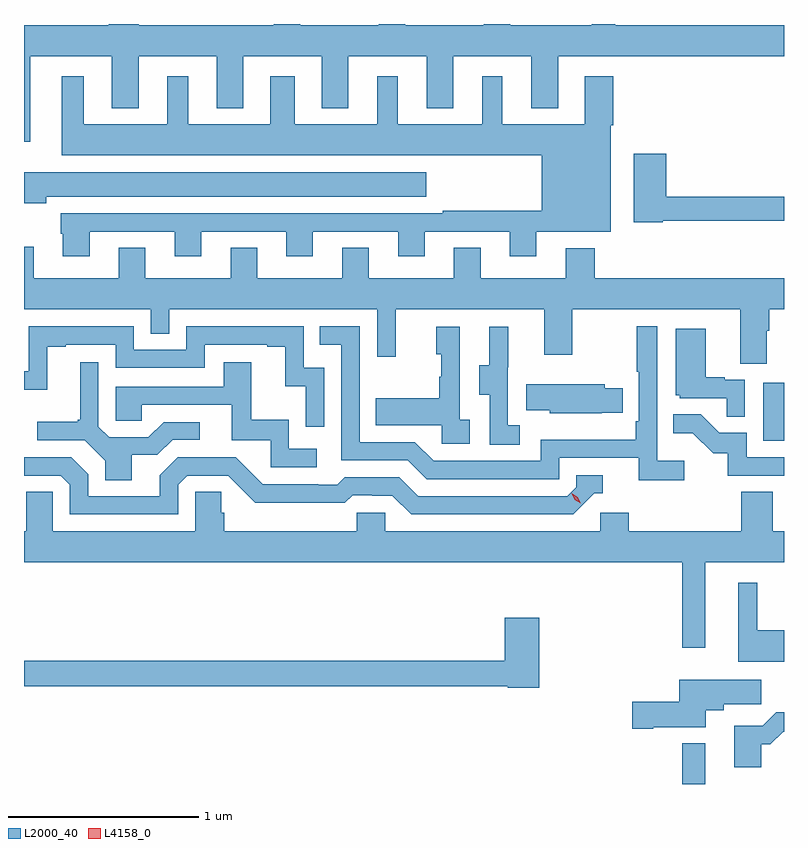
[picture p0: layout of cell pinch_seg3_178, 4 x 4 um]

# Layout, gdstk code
import gdstk
lib = gdstk.Library(unit=1e-6, precision=1e-09)
def R(c, l, rs):  # rectangles x0, y0, x1, y1
    for r in rs: c.add(gdstk.rectangle(r[:2], r[2:], *l))
def P(c, l, *ps):  # polygons
    for p in ps: c.add(gdstk.Polygon(p, *l))
L2000_40 = (2000, 40)
L4158_0 = (4158, 0)

pinch_seg3_178 = lib.new_cell('pinch_seg3_178')
R(pinch_seg3_178, L2000_40, [(997.212,729.054,997.333,729.268), (997.64,730.86,997.748,731.167)])
P(pinch_seg3_178, L2000_40, [(993.781,732.884),(994.211,732.884),(994.211,732.611),(994.351,732.611),(994.351,732.884),(994.763,732.884),(994.763,732.611),(994.903,732.611),(994.903,732.884),(995.315,732.884),(995.315,732.611),(995.455,732.611),(995.455,732.884),(995.867,732.884),(995.867,732.611),(996.007,732.611),(996.007,732.884),(996.419,732.884),(996.419,732.611),(996.559,732.611),(996.559,732.884),(997.748,732.884),(997.748,733.048),(996.859,733.048),(996.859,733.054),(996.737,733.054),(996.737,733.048),(996.307,733.048),(996.307,733.054),(996.167,733.054),(996.167,733.048),(995.755,733.048),(995.755,733.054),(995.615,733.054),(995.615,733.048),(995.203,733.048),(995.203,733.054),(995.063,733.054),(995.063,733.048),(994.353,733.048),(994.353,733.054),(994.193,733.054),(994.193,733.048),(993.748,733.048),(993.748,732.435),(993.781,732.435)],
  [(994.093,731.961),(994.541,731.961),(994.541,731.832),(994.681,731.832),(994.681,731.961),(995.129,731.961),(995.129,731.832),(995.269,731.832),(995.269,731.961),(995.717,731.961),(995.717,731.832),(995.857,731.832),(995.857,731.961),(996.305,731.961),(996.305,731.832),(996.445,731.832),(996.445,731.96),(996.835,731.96),(996.835,732.522),(996.848,732.522),(996.848,732.778),(996.698,732.778),(996.698,732.526),(996.265,732.526),(996.265,732.778),(996.161,732.778),(996.161,732.526),(995.716,732.526),(995.716,732.778),(995.606,732.778),(995.606,732.526),(995.173,732.526),(995.173,732.778),(995.045,732.778),(995.045,732.526),(994.612,732.526),(994.612,732.778),(994.502,732.778),(994.502,732.526),(994.063,732.526),(994.063,732.778),(993.947,732.778),(993.947,732.362),(996.473,732.362),(996.473,732.07),(995.953,732.07),(995.953,732.057),(993.941,732.057),(993.941,731.949),(993.953,731.949),(993.953,731.832),(994.093,731.832)],
  [(997.11,732.018),(997.748,732.018),(997.748,732.146),(997.127,732.146),(997.127,732.37),(996.956,732.37),(996.956,732.01),(997.11,732.01)],
  [(993.865,732.146),(995.866,732.146),(995.866,732.274),(993.748,732.274),(993.748,732.11),(993.865,732.11)],
  [(997.657,731.44),(997.67,731.44),(997.67,731.552),(997.748,731.552),(997.748,731.716),(996.752,731.716),(996.752,731.875),(996.599,731.875),(996.599,731.716),(996.151,731.716),(996.151,731.876),(996.011,731.876),(996.011,731.716),(995.563,731.716),(995.563,731.876),(995.423,731.876),(995.423,731.716),(994.975,731.716),(994.975,731.876),(994.835,731.876),(994.835,731.716),(994.387,731.716),(994.387,731.876),(994.247,731.876),(994.247,731.716),(993.799,731.716),(993.799,731.881),(993.748,731.881),(993.748,731.552),(994.416,731.552),(994.416,731.425),(994.512,731.425),(994.512,731.552),(995.607,731.552),(995.607,731.304),(995.705,731.304),(995.705,731.552),(996.485,731.552),(996.485,731.313),(996.633,731.313),(996.633,731.552),(997.517,731.552),(997.517,731.266),(997.657,731.266)],
  [(997.222,730.756),(997.08,730.756),(997.08,731.464),(996.972,731.464),(996.972,731.224),(996.984,731.224),(996.984,730.963),(996.967,730.963),(996.967,730.867),(996.468,730.867),(996.468,730.755),(995.904,730.755),(995.805,730.854),(995.514,730.854),(995.514,731.463),(995.305,731.463),(995.305,731.367),(995.418,731.367),(995.418,730.758),(995.768,730.758),(995.867,730.659),(996.564,730.659),(996.564,730.77),(996.983,730.77),(996.983,730.654),(997.222,730.654)],
  [(995.328,731.244),(995.22,731.244),(995.22,731.463),(994.602,731.463),(994.602,731.34),(994.326,731.34),(994.326,731.463),(993.774,731.463),(993.774,731.227),(993.748,731.227),(993.748,731.129),(993.871,731.129),(993.871,731.355),(993.967,731.355),(993.967,731.367),(994.23,731.367),(994.23,731.244),(994.698,731.244),(994.698,731.367),(995.027,731.367),(995.027,731.355),(995.123,731.355),(995.123,731.147),(995.232,731.147),(995.232,730.935),(995.328,730.935)],
  [(996.358,730.943),(996.294,730.943),(996.294,731.247),(996.296,731.247),(996.296,731.461),(996.197,731.461),(996.197,731.259),(996.143,731.259),(996.143,731.104),(996.198,731.104),(996.198,730.84),(996.358,730.84)],
  [(996.094,730.97),(996.042,730.97),(996.042,731.461),(995.918,731.461),(995.918,731.316),(995.944,731.316),(995.944,731.198),(995.934,731.198),(995.934,731.083),(995.599,731.083),(995.599,730.943),(995.946,730.943),(995.946,730.845),(996.094,730.845)],
  [(997.542,731.181),(997.436,731.181),(997.436,731.194),(997.336,731.194),(997.336,731.449),(997.178,731.449),(997.178,731.1),(997.2,731.1),(997.2,731.085),(997.447,731.085),(997.447,730.987),(997.542,730.987)],
  [(994.315,730.786),(994.45,730.786),(994.53,730.866),(994.672,730.866),(994.672,730.959),(994.484,730.959),(994.403,730.878),(994.197,730.878),(994.14,730.935),(994.14,731.275),(994.043,731.275),(994.043,730.972),(994.032,730.972),(994.032,730.96),(993.819,730.96),(993.819,730.863),(994.068,730.863),(994.175,730.756),(994.175,730.654),(994.315,730.654)],
  [(995.29,730.818),(995.142,730.818),(995.142,730.972),(994.943,730.972),(994.943,731.275),(994.799,731.275),(994.799,731.145),(994.23,731.145),(994.23,730.965),(994.367,730.965),(994.367,731.049),(994.841,731.049),(994.841,730.863),(995.046,730.863),(995.046,730.722),(995.29,730.722)],
  [(996.788,731.007),(996.899,731.007),(996.899,731.136),(996.805,731.136),(996.805,731.158),(996.391,731.158),(996.391,731.021),(996.516,731.021),(996.516,731.006),(996.788,731.006)],
  [(997.748,730.773),(997.551,730.773),(997.551,730.902),(997.407,730.902),(997.309,731),(997.165,731),(997.165,730.901),(997.269,730.901),(997.376,730.794),(997.453,730.794),(997.453,730.677),(997.748,730.677)],
  [(994.56,730.629),(994.608,730.677),(994.824,730.677),(994.966,730.535),(995.202,730.535),(995.202,730.533),(995.435,730.533),(995.477,730.575),(995.58,730.575),(995.58,730.572),(995.687,730.572),(995.786,730.473),(996.639,730.473),(996.75,730.584),(996.793,730.584),(996.793,730.68),(996.654,730.68),(996.654,730.617),(996.606,730.569),(995.823,730.569),(995.724,730.668),(995.435,730.668),(995.396,730.629),(995.297,730.629),(995.297,730.632),(995.004,730.632),(994.863,730.773),(994.557,730.773),(994.463,730.679),(994.463,730.569),(994.086,730.569),(994.086,730.683),(993.996,730.773),(993.78,730.773),(993.78,730.775),(993.748,730.775),(993.748,730.677),(993.942,730.677),(993.99,730.629),(993.99,730.473),(994.56,730.473)],
  [(997.333,730.22),(997.748,730.22),(997.748,730.384),(997.688,730.384),(997.688,730.592),(997.523,730.592),(997.523,730.384),(996.932,730.384),(996.932,730.482),(996.78,730.482),(996.78,730.384),(995.649,730.384),(995.649,730.482),(995.499,730.482),(995.499,730.384),(994.802,730.384),(994.802,730.482),(994.787,730.482),(994.787,730.592),(994.65,730.592),(994.65,730.384),(993.9,730.384),(993.9,730.592),(993.761,730.592),(993.761,730.384),(993.748,730.384),(993.748,730.22),(997.212,730.22),(997.212,729.771),(997.333,729.771)],
  [(997.748,729.862),(997.606,729.862),(997.606,730.114),(997.508,730.114),(997.508,729.698),(997.748,729.698)],
  [(996.461,729.928),(996.278,729.928),(996.278,729.704),(993.748,729.704),(993.748,729.568),(996.294,729.568),(996.294,729.56),(996.461,729.56)],
  [(997.06,729.353),(997.336,729.353),(997.336,729.443),(997.432,729.443),(997.432,729.475),(997.627,729.475),(997.627,729.604),(997.196,729.604),(997.196,729.488),(996.948,729.488),(996.948,729.346),(997.06,729.346)],
  [(997.627,729.263),(997.676,729.263),(997.743,729.33),(997.748,729.33),(997.748,729.431),(997.706,729.431),(997.636,729.361),(997.487,729.361),(997.487,729.141),(997.627,729.141)])
P(pinch_seg3_178, L4158_0, [(996.677,730.531),(996.647,730.551),(996.631,730.584),(996.631,730.584),(996.631,730.584),(996.662,730.564),(996.678,730.531),(996.678,730.531)])

lib.write_gds('pinch_seg3_178.gds')
